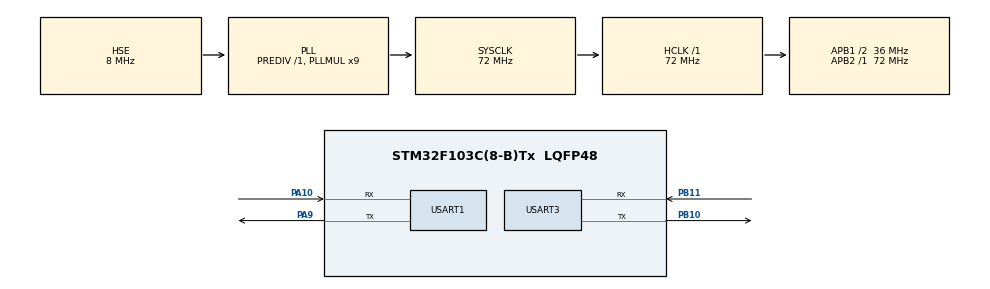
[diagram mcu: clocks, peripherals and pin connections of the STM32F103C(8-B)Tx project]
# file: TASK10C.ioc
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Mcu.Family=STM32F1
Mcu.Name=STM32F103C(8-B)Tx
Mcu.Package=LQFP48
NVIC.PriorityGroup=NVIC_PRIORITYGROUP_4
NVIC.USART1_IRQn=true\:0\:0\:false\:false\:true\:true\:true\:true
NVIC.USART3_IRQn=true\:0\:0\:false\:false\:true\:true\:true\:true
PA10.Mode=Asynchronous
PA10.Signal=USART1_RX
PA13.Mode=Serial_Wire
PA13.Signal=SYS_JTMS-SWDIO
PA14.Mode=Serial_Wire
PA14.Signal=SYS_JTCK-SWCLK
PA9.Mode=Asynchronous
PA9.Signal=USART1_TX
PB10.Mode=Asynchronous
PB10.Signal=USART3_TX
PB11.Mode=Asynchronous
PB11.Signal=USART3_RX
PD0-OSC_IN.Mode=HSE-External-Oscillator
PD0-OSC_IN.Signal=RCC_OSC_IN
PD1-OSC_OUT.Mode=HSE-External-Oscillator
PD1-OSC_OUT.Signal=RCC_OSC_OUT
ProjectManager.HeapSize=0x200
ProjectManager.StackSize=0x400
ProjectManager.TargetToolchain=MDK-ARM V5.32
RCC.AHBFreq_Value=72000000
RCC.APB1CLKDivider=RCC_HCLK_DIV2
RCC.APB1Freq_Value=36000000
RCC.APB1TimFreq_Value=72000000
RCC.APB2Freq_Value=72000000
RCC.APB2TimFreq_Value=72000000
RCC.HCLKFreq_Value=72000000
RCC.PLLMUL=RCC_PLL_MUL9
RCC.PLLSourceVirtual=RCC_PLLSOURCE_HSE
RCC.SYSCLKFreq_VALUE=72000000
RCC.SYSCLKSource=RCC_SYSCLKSOURCE_PLLCLK
RCC.USBFreq_Value=72000000
USART1.VirtualMode=VM_ASYNC
USART3.VirtualMode=VM_ASYNC
board=custom

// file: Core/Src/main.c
/* USER CODE BEGIN Header */
/**
  ******************************************************************************
  * @file           : main.c
  * @brief          : Main program body
  ******************************************************************************
  * @attention
  *
  * Copyright (c) 2026 STMicroelectronics.
  * All rights reserved.
  *
  * This software is licensed under terms that can be found in the LICENSE file
  * in the root directory of this software component.
  * If no LICENSE file comes with this software, it is provided AS-IS.
  *
  ******************************************************************************
  */
/* USER CODE END Header */
#include "main.h"

/* USER CODE BEGIN Includes */
#include <stdio.h>
#include <string.h>
/* USER CODE END Includes */

UART_HandleTypeDef huart1;
UART_HandleTypeDef huart3;

void SystemClock_Config(void);
static void MX_GPIO_Init(void);
static void MX_USART1_UART_Init(void);
static void MX_USART3_UART_Init(void);

/* USER CODE BEGIN PFP */

void send_cmds(char *cmd, uint32_t total_wait_time);
void cmds_9c_wifi_connect();
/* USER CODE END PFP */

int main(void)
{

  /* MCU Configuration--------------------------------------------------------*/

  /* Reset of all peripherals, Initializes the Flash interface and the Systick. */
  HAL_Init();

  /* Configure the system clock */
  SystemClock_Config();

  /* Initialize all configured peripherals */
  MX_GPIO_Init();
  MX_USART1_UART_Init();
  MX_USART3_UART_Init();
  /* USER CODE BEGIN 2 */
	cmds_9c_wifi_connect();
  /* USER CODE END 2 */

  /* Infinite loop */
  while (1)
  {

  }
}

void SystemClock_Config(void)
{
  RCC_OscInitTypeDef RCC_OscInitStruct = {0};
  RCC_ClkInitTypeDef RCC_ClkInitStruct = {0};

  /** Initializes the RCC Oscillators according to the specified parameters
  * in the RCC_OscInitTypeDef structure.
  */
  RCC_OscInitStruct.OscillatorType = RCC_OSCILLATORTYPE_HSE;
  RCC_OscInitStruct.HSEState = RCC_HSE_ON;
  RCC_OscInitStruct.HSEPredivValue = RCC_HSE_PREDIV_DIV1;
  RCC_OscInitStruct.HSIState = RCC_HSI_ON;
  RCC_OscInitStruct.PLL.PLLState = RCC_PLL_ON;
  RCC_OscInitStruct.PLL.PLLSource = RCC_PLLSOURCE_HSE;
  RCC_OscInitStruct.PLL.PLLMUL = RCC_PLL_MUL9;
  if (HAL_RCC_OscConfig(&RCC_OscInitStruct) != HAL_OK)
  {
    Error_Handler();
  }

  /** Initializes the CPU, AHB and APB buses clocks
  */
  RCC_ClkInitStruct.ClockType = RCC_CLOCKTYPE_HCLK|RCC_CLOCKTYPE_SYSCLK
                              |RCC_CLOCKTYPE_PCLK1|RCC_CLOCKTYPE_PCLK2;
  RCC_ClkInitStruct.SYSCLKSource = RCC_SYSCLKSOURCE_PLLCLK;
  RCC_ClkInitStruct.AHBCLKDivider = RCC_SYSCLK_DIV1;
  RCC_ClkInitStruct.APB1CLKDivider = RCC_HCLK_DIV2;
  RCC_ClkInitStruct.APB2CLKDivider = RCC_HCLK_DIV1;

  if (HAL_RCC_ClockConfig(&RCC_ClkInitStruct, FLASH_LATENCY_2) != HAL_OK)
  {
    Error_Handler();
  }
}

static void MX_USART1_UART_Init(void)
{

  huart1.Instance = USART1;
  huart1.Init.BaudRate = 115200;
  huart1.Init.WordLength = UART_WORDLENGTH_8B;
  huart1.Init.StopBits = UART_STOPBITS_1;
  huart1.Init.Parity = UART_PARITY_NONE;
  huart1.Init.Mode = UART_MODE_TX_RX;
  huart1.Init.HwFlowCtl = UART_HWCONTROL_NONE;
  huart1.Init.OverSampling = UART_OVERSAMPLING_16;
  if (HAL_UART_Init(&huart1) != HAL_OK)
  {
    Error_Handler();
  }

}

static void MX_USART3_UART_Init(void)
{

  huart3.Instance = USART3;
  huart3.Init.BaudRate = 115200;
  huart3.Init.WordLength = UART_WORDLENGTH_8B;
  huart3.Init.StopBits = UART_STOPBITS_1;
  huart3.Init.Parity = UART_PARITY_NONE;
  huart3.Init.Mode = UART_MODE_TX_RX;
  huart3.Init.HwFlowCtl = UART_HWCONTROL_NONE;
  huart3.Init.OverSampling = UART_OVERSAMPLING_16;
  if (HAL_UART_Init(&huart3) != HAL_OK)
  {
    Error_Handler();
  }

}

static void MX_GPIO_Init(void)
{

  /* GPIO Ports Clock Enable */
  __HAL_RCC_GPIOD_CLK_ENABLE();
  __HAL_RCC_GPIOB_CLK_ENABLE();
  __HAL_RCC_GPIOA_CLK_ENABLE();

}

/* USER CODE BEGIN 4 */
void cmds_9c_wifi_connect(void)
{
    // 2-second initial boot delay for Wemos
    HAL_Delay(2000);

    //Print test banner to PC terminal
    char *banner = "\r\n--- STM32-WiFi MODEM TEST ---\r\n\r\n";
    HAL_UART_Transmit(&huart3, (uint8_t *)banner, strlen(banner), HAL_MAX_DELAY);

    //Test Modem Connection
    send_cmds("AT\r\n", 1000);
    HAL_Delay(1000);

    //Set Wi-Fi Mode to Station Mode (CWMODE=1)
    send_cmds("AT+CWMODE=1\r\n", 1000);
    HAL_Delay(1000);

    //Join Access Point (Note: NO space after the comma in AT+CWJAP)
    send_cmds("AT+CWJAP=\"SNUC\",\"snu12345\"\r\n", 12000);
    HAL_Delay(1000);

    //Query assigned IP Address and MAC Address
    send_cmds("AT+CIFSR\r\n", 3000);
    HAL_Delay(1000);

    //Print verification footer
    char *summary = "\r\n VERIFICATION \r\n"
                    "WIFI MODE   : STATION\r\n"
                    "WIFI STATUS : CONNECTED\r\n";
    HAL_UART_Transmit(&huart3, (uint8_t *)summary, strlen(summary), HAL_MAX_DELAY);
}

void send_cmds(char *cmd,uint32_t total_wait_time) {
	char send[100];
	//snprintf is just string print with size limit buffer,size,string formatting
	//send is just a temp buffer to store and send nicely formatted string to putty to know what I'm actually sending
	snprintf(send,sizeof(send),"SENDING\r\n : %s",cmd);

	//Send to putty what command you're essentially sending WEMOS via uart1
	HAL_UART_Transmit(&huart3,(uint8_t *)send,strlen(send),HAL_MAX_DELAY);

	//Actually send the command to WEMOS via uart 1 - cmd is what is ACTUALLY being sent
	HAL_UART_Transmit(&huart1,(uint8_t *)cmd	,strlen(cmd),HAL_MAX_DELAY);

	//Receive response from the wifi module now
	uint8_t rx_byte;
	//To handle a bigger stream of data like in the case of CIFSR
	//Have to check what this means completely
	uint32_t overall_start = HAL_GetTick();
	uint32_t last_byte_time = HAL_GetTick();

	//Threshold
//	const uint32_t idle_time = 50;

	while((HAL_GetTick() - overall_start) < total_wait_time){
		//Checking if Data was received by ESP8266 Properly
		if(HAL_UART_Receive(&huart1,&rx_byte,1,10) == HAL_OK) {
			//Transmit to PUTTY
			HAL_UART_Transmit(&huart3,&rx_byte,1,HAL_MAX_DELAY);
			last_byte_time = HAL_GetTick();
		} /*else {
			if((HAL_GetTick() - last_byte_time) > idle_time) {
				//Finished exit early
				break;
			}
		} */
	}
}

/* USER CODE END 4 */

void Error_Handler(void)
{
  __disable_irq();
  while (1)
  {
  }
}
